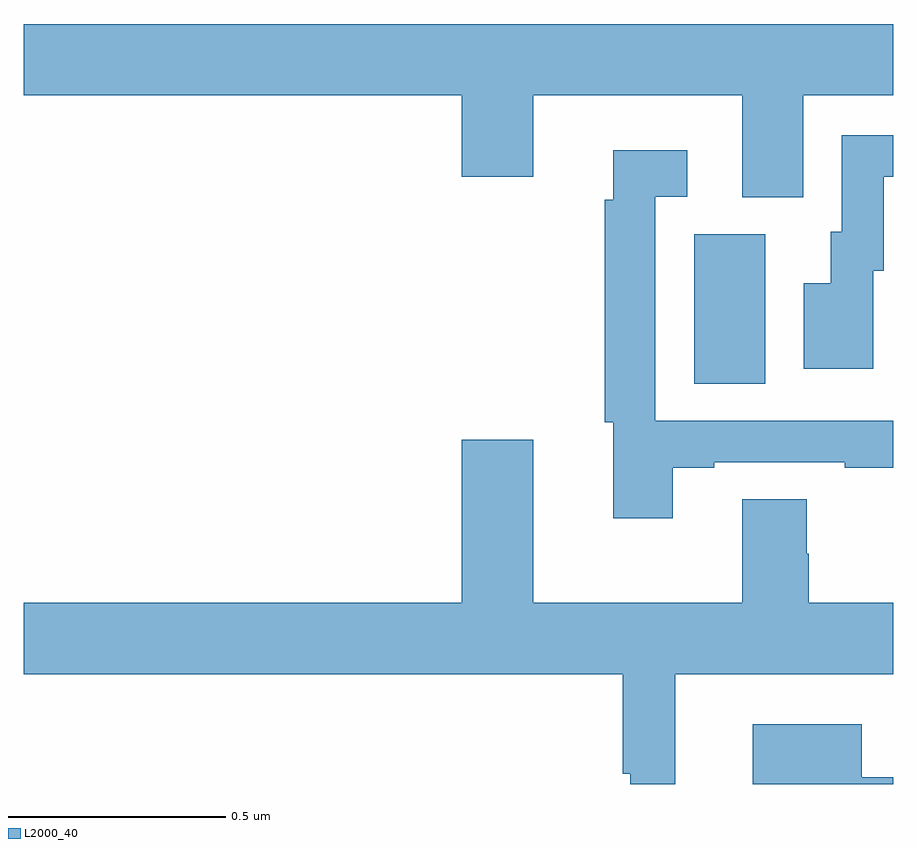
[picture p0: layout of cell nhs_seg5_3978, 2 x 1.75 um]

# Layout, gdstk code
import gdstk
lib = gdstk.Library(unit=1e-6, precision=1e-09)
def R(c, l, rs):  # rectangles x0, y0, x1, y1
    for r in rs: c.add(gdstk.rectangle(r[:2], r[2:], *l))
def P(c, l, *ps):  # polygons
    for p in ps: c.add(gdstk.Polygon(p, *l))
L2000_40 = (2000, 40)

nhs_seg5_3978 = lib.new_cell('nhs_seg5_3978')
R(nhs_seg5_3978, L2000_40, [(165.542,898.72,165.706,899.064)])
P(nhs_seg5_3978, L2000_40, [(165.793,899.384),(166,899.384),(166,899.548),(164,899.548),(164,899.384),(165.008,899.384),(165.008,899.196),(165.172,899.196),(165.172,899.384),(165.653,899.384),(165.653,899.149),(165.793,899.149)],
  [(165.955,898.98),(165.979,898.98),(165.979,899.196),(166,899.196),(166,899.292),(165.882,899.292),(165.882,899.07),(165.857,899.07),(165.857,898.951),(165.794,898.951),(165.794,898.755),(165.955,898.755)],
  [(165.493,898.527),(165.589,898.527),(165.589,898.539),(165.889,898.539),(165.889,898.527),(166,898.527),(166,898.635),(165.453,898.635),(165.453,899.151),(165.526,899.151),(165.526,899.257),(165.356,899.257),(165.356,899.144),(165.337,899.144),(165.337,898.632),(165.356,898.632),(165.356,898.41),(165.493,898.41)],
  [(165.499,898.052),(166,898.052),(166,898.216),(165.806,898.216),(165.806,898.329),(165.801,898.329),(165.801,898.454),(165.653,898.454),(165.653,898.216),(165.172,898.216),(165.172,898.591),(165.008,898.591),(165.008,898.216),(164,898.216),(164,898.052),(165.378,898.052),(165.378,897.823),(165.395,897.823),(165.395,897.799),(165.499,897.799)],
  [(166,897.814),(165.928,897.814),(165.928,897.937),(165.677,897.937),(165.677,897.799),(166,897.799)])

lib.write_gds('nhs_seg5_3978.gds')
